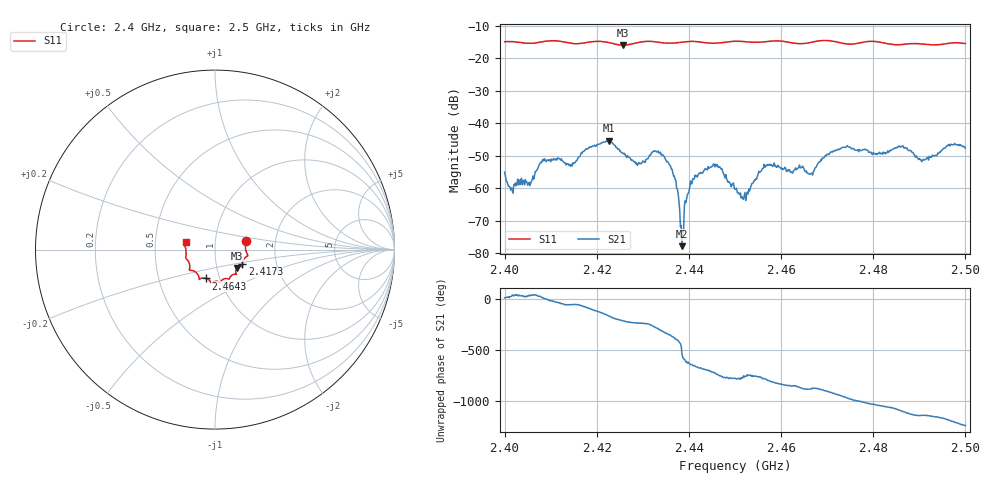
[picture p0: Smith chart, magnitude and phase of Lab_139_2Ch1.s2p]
# Hz S RI R 50
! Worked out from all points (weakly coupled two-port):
!   601 points, 2.4 GHz to 2.5 GHz, reference 50 ohm
!   highest |S21| = -45.39 dB at 2.4227 GHz (marker M1); lowest = -77.9 dB at 2.4385 GHz (marker M2)
!   lowest |S11| = -15.9 dB at 2.4257 GHz (marker M3), VSWR 1.38, Z = 62.4 - j13.1 ohm
!   |S11| at or under -10 dB: start of sweep to end of sweep
!   S12 and S22 are empty: the file has one direction only
!   S11 on the Smith chart (normalised r, x): 2.4 GHz: 1.41, +0.14; 2.4173 GHz: 1.34, -0.23; 2.4643 GHz: 0.86, -0.28; 2.5 GHz: 0.72, +0.06
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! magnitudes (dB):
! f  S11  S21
! 2.4 GHz  -14.9  -55.0
! 2.4017 GHz  -14.9  -60.7
! 2.4083 GHz  -14.8  -51.1
! 2.4167 GHz  -15.4  -49.0
! 2.4173 GHz  -15.2  -48.5
! 2.4227 GHz  -15.1  -45.4
! 2.4257 GHz  -15.9  -49.2
! 2.429 GHz  -15.1  -52.3
! 2.4333 GHz  -15.0  -48.5
! 2.4367 GHz  -15.3  -56.2
! 2.4385 GHz  -15.0  -77.9
! 2.44 GHz  -14.8  -61.1
! 2.4418 GHz  -14.9  -56.5
! 2.4458 GHz  -15.3  -52.6
! 2.45 GHz  -14.7  -60.4
! 2.4518 GHz  -14.8  -63.4
! 2.4568 GHz  -14.8  -52.8
! 2.4643 GHz  -15.5  -53.6
! 2.4667 GHz  -15.0  -55.4
! 2.4738 GHz  -15.5  -47.5
! 2.4833 GHz  -15.6  -49.0
! 2.5 GHz  -15.5  -47.7
